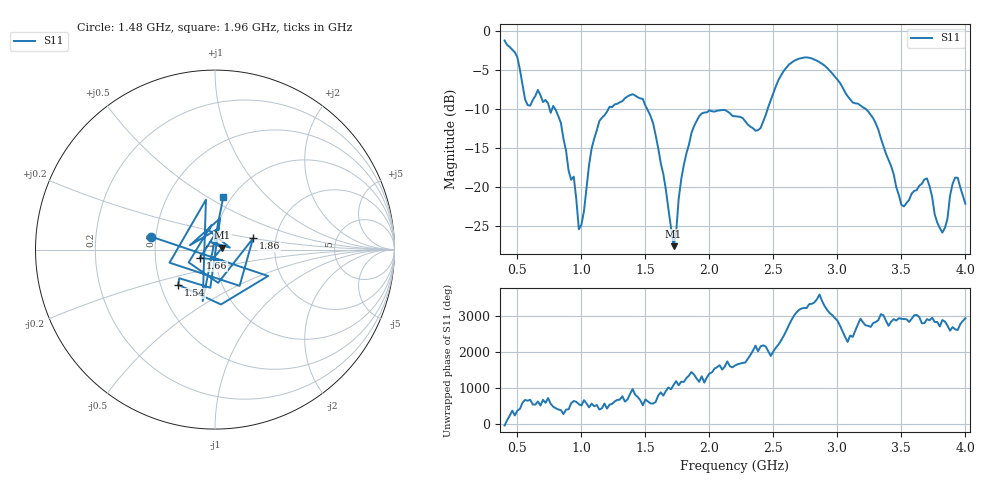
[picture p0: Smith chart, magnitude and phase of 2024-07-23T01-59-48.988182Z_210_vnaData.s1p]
!Created with skrf (http://scikit-rf.org).
# Hz S RI R 50.0
!freq ReS11 ImS11
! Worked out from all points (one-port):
!   181 points, 400 MHz to 4 GHz, reference 50 ohm
!   lowest |S11| = -27.6 dB at 1.72 GHz (marker M1), VSWR 1.09, Z = 54.2 + j1.22 ohm
!   |S11| at or under -10 dB: 793 MHz to 1.212 GHz (419.5 MHz wide, 41.8 % of centre); 1.512 GHz to 2.456 GHz (943.7 MHz wide, 47.6 % of centre); 3.218 GHz to end of sweep (the widest 3 of 4)
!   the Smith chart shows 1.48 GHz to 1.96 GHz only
!   S11 on the Smith chart (normalised r, x): 1.48 GHz: 0.47, +0.08; 1.54 GHz: 0.62, -0.26; 1.66 GHz: 0.84, -0.08; 1.86 GHz: 1.52, +0.20; 1.96 GHz: 0.91, +0.59
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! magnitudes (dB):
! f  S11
! 400 MHz  -1.3
! 500 MHz  -3.4
! 580 MHz  -9.5
! 660 MHz  -7.6
! 860 MHz  -13.9
! 940 MHz  -18.7
! 980 MHz  -25.5
! 1.14 GHz  -11.6
! 1.3 GHz  -9.2
! 1.48 GHz  -8.8
! 1.54 GHz  -10.9
! 1.66 GHz  -20.4
! 1.72 GHz  -27.6
! 1.76 GHz  -21.6
! 1.86 GHz  -13.1
! 1.96 GHz  -10.5
! 2.2 GHz  -11.0
! 2.4 GHz  -12.5
! 2.66 GHz  -3.9
! 2.88 GHz  -4.3
! 3.1 GHz  -8.8
! 3.28 GHz  -11.2
! 3.5 GHz  -22.3
! 3.56 GHz  -21.7
! 3.7 GHz  -18.9
! 3.82 GHz  -25.9
! 3.92 GHz  -18.8
! 4 GHz  -22.2
